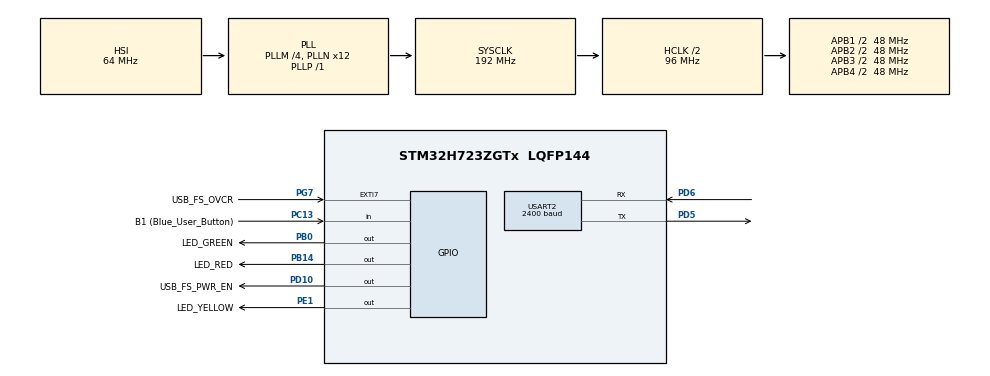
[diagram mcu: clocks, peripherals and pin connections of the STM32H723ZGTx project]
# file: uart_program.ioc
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Dma.Request0=USART2_RX
Dma.USART2_RX.0.Direction=DMA_PERIPH_TO_MEMORY
Dma.USART2_RX.0.EventEnable=DISABLE
Dma.USART2_RX.0.FIFOMode=DMA_FIFOMODE_DISABLE
Dma.USART2_RX.0.Instance=DMA1_Stream0
Dma.USART2_RX.0.MemDataAlignment=DMA_MDATAALIGN_BYTE
Dma.USART2_RX.0.MemInc=DMA_MINC_ENABLE
Dma.USART2_RX.0.Mode=DMA_CIRCULAR
Dma.USART2_RX.0.PeriphDataAlignment=DMA_PDATAALIGN_BYTE
Dma.USART2_RX.0.PeriphInc=DMA_PINC_DISABLE
Dma.USART2_RX.0.Polarity=HAL_DMAMUX_REQ_GEN_RISING
Dma.USART2_RX.0.Priority=DMA_PRIORITY_LOW
Dma.USART2_RX.0.RequestNumber=1
Dma.USART2_RX.0.SignalID=NONE
Dma.USART2_RX.0.SyncEnable=DISABLE
Dma.USART2_RX.0.SyncPolarity=HAL_DMAMUX_SYNC_NO_EVENT
Dma.USART2_RX.0.SyncRequestNumber=1
Dma.USART2_RX.0.SyncSignalID=NONE
Mcu.Family=STM32H7
Mcu.Name=STM32H723ZGTx
Mcu.Package=LQFP144
NVIC.DMA1_Stream0_IRQn=true\:0\:0\:false\:false\:true\:false\:true\:true
NVIC.PriorityGroup=NVIC_PRIORITYGROUP_4
NVIC.TIM4_IRQn=true\:15\:0\:false\:false\:true\:false\:true\:true
NVIC.TimeBase=TIM4_IRQn
NVIC.TimeBaseIP=TIM4
NVIC.USART2_IRQn=true\:0\:0\:false\:false\:true\:true\:true\:true
PA1.GPIO_Label=RMII_REF_CLK
PA1.Signal=ETH_REF_CLK
PA10.GPIO_Label=USB_FS_ID
PA10.Signal=USB_OTG_HS_ID
PA13(JTMS/SWDIO).GPIO_Label=SWDIO
PA13(JTMS/SWDIO).Signal=DEBUG_JTMS-SWDIO
PA14(JTCK/SWCLK).GPIO_Label=SWCLK
PA14(JTCK/SWCLK).Signal=DEBUG_JTCK-SWCLK
PA7.GPIO_Label=RMII_CRS_DV
PA7.Signal=ETH_CRS_DV
PA9.GPIO_Label=USB_FS_VBUS
PA9.Signal=USB_OTG_HS_VBUS
PB0.GPIO_Label=LED_GREEN
PB0.Signal=GPIO_Output
PB13.GPIO_Label=RMII_TXD1
PB13.Signal=ETH_TXD1
PB14.GPIO_Label=LED_RED
PB14.Signal=GPIO_Output
PB3(JTDO/TRACESWO).GPIO_Label=SWO
PB3(JTDO/TRACESWO).Signal=DEBUG_JTDO-SWO
PC1.GPIO_Label=RMII_MDC
PC1.Signal=ETH_MDC
PC13.GPIO_Label=B1 (Blue_User_Button)
PC13.Signal=GPIO_Input
PC14-OSC32_IN.Signal=RCC_OSC32_IN
PC15-OSC32_OUT.Signal=RCC_OSC32_OUT
PC4.GPIO_Label=RMII_RXD0
PC4.Signal=ETH_RXD0
PC5.GPIO_Label=RMII_RXD1
PC5.Signal=ETH_RXD1
PD10.GPIO_Label=USB_FS_PWR_EN
PD10.Signal=GPIO_Output
PD5.Mode=Asynchronous
PD5.Signal=USART2_TX
PD6.Mode=Asynchronous
PD6.Signal=USART2_RX
PD8.GPIO_Label=STLK_VCP_RX
PD8.Signal=USART3_TX
PD9.GPIO_Label=STLK_VCP_TX
PD9.Signal=USART3_RX
PE1.GPIO_Label=LED_YELLOW
PE1.Signal=GPIO_Output
PG11.GPIO_Label=RMII_TX_EN
PG11.Signal=ETH_TX_EN
PG13.GPIO_Label=RMII_TXD0
PG13.Signal=ETH_TXD0
PG7.GPIO_Label=USB_FS_OVCR
PG7.Signal=GPXTI7
PH0-OSC_IN.GPIO_Label=MCO
PH0-OSC_IN.Signal=RCC_OSC_IN
PH1-OSC_OUT.Signal=RCC_OSC_OUT
ProjectManager.HeapSize=0x200
ProjectManager.StackSize=0x400
ProjectManager.TargetToolchain=STM32CubeIDE
RCC.ADCFreq_Value=608000000
RCC.APB1Freq_Value=48000000
RCC.APB2Freq_Value=48000000
RCC.APB3Freq_Value=48000000
RCC.APB4Freq_Value=48000000
RCC.CortexFreq_Value=192000000
RCC.D1PPRE=RCC_APB3_DIV2
RCC.D2PPRE1=RCC_APB1_DIV2
RCC.D2PPRE2=RCC_APB2_DIV2
RCC.D3PPRE=RCC_APB4_DIV2
RCC.DIVM1=4
RCC.DIVM2=1
RCC.DIVN1=12
RCC.DIVN2=19
RCC.DIVP1=1
RCC.DIVQ1=4
RCC.HCLKFreq_Value=96000000
RCC.HPRE=RCC_HCLK_DIV2
RCC.HSE_VALUE=8000000
RCC.PLLFRACN=0
RCC.SYSCLKFreq_VALUE=192000000
RCC.SYSCLKSource=RCC_SYSCLKSOURCE_PLLCLK
RCC.USBCLockSelection=RCC_USBCLKSOURCE_HSI48
RCC.USBFreq_Value=48000000
USART2.BaudRate=2400
USART2.VirtualMode-Asynchronous=VM_ASYNC
VP_MEMORYMAP_VS_MEMORYMAP.Mode=CurAppReg
VP_SYS_VS_tim4.Mode=TIM4
board=NUCLEO-H723ZG

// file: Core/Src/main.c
/* USER CODE BEGIN Header */
/**
 ******************************************************************************
 * @file           : main.c
 * @brief          : Main program body
 ******************************************************************************
 * @attention
 *
 * Copyright (c) 2024 STMicroelectronics.
 * All rights reserved.
 *
 * This software is licensed under terms that can be found in the LICENSE file
 * in the root directory of this software component.
 * If no LICENSE file comes with this software, it is provided AS-IS.
 *
 ******************************************************************************
 */
/* USER CODE END Header */
#include "main.h"

/* USER CODE BEGIN Includes */
#include "string.h"

#include "flash_sector_h7.h"
/* USER CODE END Includes */

/* USER CODE BEGIN PD */
#define MAX_RECEVE_DATA_SIZE 10
#define BUFFER_SIZE			 2048
#define STRING_BUFFER_SIZE   1024

//#define TEST
/* USER CODE END PD */

UART_HandleTypeDef huart2;
DMA_HandleTypeDef hdma_usart2_rx;

/* USER CODE BEGIN PV */
uint64_t flash_begin_address = 0x08060000;

uint8_t received_data[BUFFER_SIZE];
uint32_t buffer[STRING_BUFFER_SIZE];
char tx_data[STRING_BUFFER_SIZE];

uint16_t total_number_of_words = 0;
uint8_t local_count = 0;
volatile uint8_t data_reception_complete = 0;
uint8_t data_copying_complete = 0;
uint32_t receive_buffer_index = 0;
uint32_t main_buffer_index = 0;
uint32_t previous_received_data_size = 0;
uint32_t temp = 0;
uint32_t received_data_length = 0;
volatile uint8_t buf_overflow = 0;

uint32_t flash_tx_data;
uint32_t *flash_rx_data;

/* USER CODE END PV */

void SystemClock_Config(void);
static void MX_GPIO_Init(void);
static void MX_DMA_Init(void);
static void MX_USART2_UART_Init(void);

/* USER CODE BEGIN 0 */

void HAL_UARTEx_RxEventCallback(UART_HandleTypeDef *huart, uint16_t Size)
{
	/* Prevent unused argument(s) compilation warning */
	UNUSED(huart);
	UNUSED(Size);

	/* NOTE : This function should not be modified, when the callback is needed,
            the HAL_UARTEx_RxEventCallback can be implemented in the user file.
	 */
	temp = Size;

	if(Size != BUFFER_SIZE)
		data_reception_complete = 1;
//	else if(Size == BUFFER_SIZE)
//		buf_overflow = 1;
}
/* USER CODE END 0 */

int main(void)
{

	/* MCU Configuration--------------------------------------------------------*/

	/* Reset of all peripherals, Initializes the Flash interface and the Systick. */
	HAL_Init();

	/* Configure the system clock */
	SystemClock_Config();

	/* Initialize all configured peripherals */
	MX_GPIO_Init();
	MX_DMA_Init();
	MX_USART2_UART_Init();
	/* USER CODE BEGIN 2 */
	HAL_Delay(1000);
	HAL_UART_Transmit(&huart2, (uint8_t *)"Start\n", 6, 100);

#ifdef TEST
	// Flash test
//	Flash_Erase_Sector(0x08060000);
	flash_tx_data = (uint32_t)'\n' << 24 | (uint32_t)'B' << 16 | (uint32_t)'U' << 8 | (uint32_t)'F';
	Flash_Write_Data(0x08060000, &flash_tx_data, 1);
//	Flash_Read_Data(0x08060000, flash_rx_data, 1);

//	Flash_Erase_Sector(0x08060000);
	flash_tx_data = (uint32_t)'\n' << 24 | (uint32_t)'F' << 16 | (uint32_t)'C' << 8 | (uint32_t)'B';
	Flash_Write_Data(0x08060000, &flash_tx_data, 1);

	flash_tx_data = 0;
	char *sample_character = "Dumbledore";
	HAL_UART_Transmit(&huart2, (uint8_t *)sample_character, 10, 100);
#endif
	/* USER CODE END 2 */

	/* Infinite loop */
	/* USER CODE BEGIN WHILE */

	// Set array to NULL
	memset(received_data, '\0', BUFFER_SIZE);
	memset(tx_data, '\0', STRING_BUFFER_SIZE);

	// Trigger Receive DMA
	HAL_UARTEx_ReceiveToIdle_DMA(&huart2, received_data, BUFFER_SIZE);
	// Disable half transfer complete IRQ
	__HAL_DMA_DISABLE_IT(&hdma_usart2_rx, DMA_IT_HT);

	while (1)
	{
		/* USER CODE END WHILE */

		/* USER CODE BEGIN 3 */
		while((received_data[receive_buffer_index + previous_received_data_size] != '\0') && ((receive_buffer_index + previous_received_data_size) < BUFFER_SIZE))
		{
			// Save received uint8_t character in uint32_t variable
			flash_tx_data |= (uint32_t)received_data[receive_buffer_index + previous_received_data_size] << (8 * local_count);

			if(local_count == 3)
			{
				local_count = 0;

				// Read data from FLASH
				Flash_Read_Data(0x08060000, flash_rx_data, total_number_of_words);

				*(flash_rx_data + total_number_of_words) = flash_tx_data;
				total_number_of_words++;

				// Write data into FLASH
				Flash_Write_Data(0x08060000, flash_rx_data, total_number_of_words);

				flash_tx_data = 0;
			}
			else
				local_count++;

			// Increment receive_buffer_index
//			receive_buffer_index++;

			receive_buffer_index++;
//			main_buffer_index++;
		}

		if(flash_tx_data != 0)
		{
//			local_count = 0;

			// Read data from FLASH
			Flash_Read_Data(0x08060000, flash_rx_data, total_number_of_words);

			*(flash_rx_data + total_number_of_words) = flash_tx_data;
			total_number_of_words++;

			// Write data into FLASH
			Flash_Write_Data(0x08060000, flash_rx_data, total_number_of_words);

			flash_tx_data = 0;
		}

		if(data_reception_complete)
		{
			data_reception_complete = 0;

			data_copying_complete = 1;
			received_data_length = receive_buffer_index;

			receive_buffer_index = 0;
			main_buffer_index = 0;

			memset(received_data, '\0', BUFFER_SIZE);
//			memset(buffer, '\0', BUFFER_SIZE);

			previous_received_data_size = temp;
			if(previous_received_data_size > BUFFER_SIZE)
				previous_received_data_size = previous_received_data_size - BUFFER_SIZE;
			else if(previous_received_data_size == BUFFER_SIZE)
				previous_received_data_size = 0;

			// Trigger Receive DMA
			HAL_UARTEx_ReceiveToIdle_DMA(&huart2, &received_data[0], BUFFER_SIZE);
			// Disable half transfer complete IRQ
			__HAL_DMA_DISABLE_IT(&hdma_usart2_rx, DMA_IT_HT);
		}

		if(data_copying_complete)
		{
//			uint32_t i = 0;
			int numberofbytes = 0;

			data_copying_complete = 0;

			// Read data from FLASH
			Flash_Read_Data(0x08060000, flash_rx_data, total_number_of_words);

			numberofbytes = Convert_To_Str(flash_rx_data, tx_data);

			HAL_UART_Transmit(&huart2, (uint8_t *)&tx_data[0], numberofbytes, HAL_MAX_DELAY);

			memset(tx_data, '\0', STRING_BUFFER_SIZE);

			total_number_of_words = 0;
		}

		HAL_Delay(1);
	}
	/* USER CODE END 3 */
}

void SystemClock_Config(void)
{
	RCC_OscInitTypeDef RCC_OscInitStruct = {0};
	RCC_ClkInitTypeDef RCC_ClkInitStruct = {0};

	/** Supply configuration update enable
	 */
	HAL_PWREx_ConfigSupply(PWR_LDO_SUPPLY);

	/** Configure the main internal regulator output voltage
	 */
	__HAL_PWR_VOLTAGESCALING_CONFIG(PWR_REGULATOR_VOLTAGE_SCALE2);

	while(!__HAL_PWR_GET_FLAG(PWR_FLAG_VOSRDY)) {}

	/** Initializes the RCC Oscillators according to the specified parameters
	 * in the RCC_OscInitTypeDef structure.
	 */
	RCC_OscInitStruct.OscillatorType = RCC_OSCILLATORTYPE_HSI;
	RCC_OscInitStruct.HSIState = RCC_HSI_DIV1;
	RCC_OscInitStruct.HSICalibrationValue = 64;
	RCC_OscInitStruct.PLL.PLLState = RCC_PLL_ON;
	RCC_OscInitStruct.PLL.PLLSource = RCC_PLLSOURCE_HSI;
	RCC_OscInitStruct.PLL.PLLM = 4;
	RCC_OscInitStruct.PLL.PLLN = 12;
	RCC_OscInitStruct.PLL.PLLP = 1;
	RCC_OscInitStruct.PLL.PLLQ = 4;
	RCC_OscInitStruct.PLL.PLLR = 2;
	RCC_OscInitStruct.PLL.PLLRGE = RCC_PLL1VCIRANGE_3;
	RCC_OscInitStruct.PLL.PLLVCOSEL = RCC_PLL1VCOWIDE;
	RCC_OscInitStruct.PLL.PLLFRACN = 0;
	if (HAL_RCC_OscConfig(&RCC_OscInitStruct) != HAL_OK)
	{
		Error_Handler();
	}

	/** Initializes the CPU, AHB and APB buses clocks
	 */
	RCC_ClkInitStruct.ClockType = RCC_CLOCKTYPE_HCLK|RCC_CLOCKTYPE_SYSCLK
			|RCC_CLOCKTYPE_PCLK1|RCC_CLOCKTYPE_PCLK2
			|RCC_CLOCKTYPE_D3PCLK1|RCC_CLOCKTYPE_D1PCLK1;
	RCC_ClkInitStruct.SYSCLKSource = RCC_SYSCLKSOURCE_PLLCLK;
	RCC_ClkInitStruct.SYSCLKDivider = RCC_SYSCLK_DIV1;
	RCC_ClkInitStruct.AHBCLKDivider = RCC_HCLK_DIV2;
	RCC_ClkInitStruct.APB3CLKDivider = RCC_APB3_DIV2;
	RCC_ClkInitStruct.APB1CLKDivider = RCC_APB1_DIV2;
	RCC_ClkInitStruct.APB2CLKDivider = RCC_APB2_DIV2;
	RCC_ClkInitStruct.APB4CLKDivider = RCC_APB4_DIV2;

	if (HAL_RCC_ClockConfig(&RCC_ClkInitStruct, FLASH_LATENCY_1) != HAL_OK)
	{
		Error_Handler();
	}
}

static void MX_USART2_UART_Init(void)
{

	huart2.Instance = USART2;
	huart2.Init.BaudRate = 2400;
	huart2.Init.WordLength = UART_WORDLENGTH_8B;
	huart2.Init.StopBits = UART_STOPBITS_1;
	huart2.Init.Parity = UART_PARITY_NONE;
	huart2.Init.Mode = UART_MODE_TX_RX;
	huart2.Init.HwFlowCtl = UART_HWCONTROL_NONE;
	huart2.Init.OverSampling = UART_OVERSAMPLING_16;
	huart2.Init.OneBitSampling = UART_ONE_BIT_SAMPLE_DISABLE;
	huart2.Init.ClockPrescaler = UART_PRESCALER_DIV1;
	huart2.AdvancedInit.AdvFeatureInit = UART_ADVFEATURE_NO_INIT;
	if (HAL_UART_Init(&huart2) != HAL_OK)
	{
		Error_Handler();
	}
	if (HAL_UARTEx_SetTxFifoThreshold(&huart2, UART_TXFIFO_THRESHOLD_1_8) != HAL_OK)
	{
		Error_Handler();
	}
	if (HAL_UARTEx_SetRxFifoThreshold(&huart2, UART_RXFIFO_THRESHOLD_1_8) != HAL_OK)
	{
		Error_Handler();
	}
	if (HAL_UARTEx_DisableFifoMode(&huart2) != HAL_OK)
	{
		Error_Handler();
	}

}

static void MX_DMA_Init(void)
{

	/* DMA controller clock enable */
	__HAL_RCC_DMA1_CLK_ENABLE();

	/* DMA interrupt init */
	/* DMA1_Stream0_IRQn interrupt configuration */
	HAL_NVIC_SetPriority(DMA1_Stream0_IRQn, 0, 0);
	HAL_NVIC_EnableIRQ(DMA1_Stream0_IRQn);

}

static void MX_GPIO_Init(void)
{
	GPIO_InitTypeDef GPIO_InitStruct = {0};

	/* GPIO Ports Clock Enable */
	__HAL_RCC_GPIOC_CLK_ENABLE();
	__HAL_RCC_GPIOH_CLK_ENABLE();
	__HAL_RCC_GPIOA_CLK_ENABLE();
	__HAL_RCC_GPIOB_CLK_ENABLE();
	__HAL_RCC_GPIOD_CLK_ENABLE();
	__HAL_RCC_GPIOG_CLK_ENABLE();
	__HAL_RCC_GPIOE_CLK_ENABLE();

	/*Configure GPIO pin Output Level */
	HAL_GPIO_WritePin(GPIOB, LED_GREEN_Pin|LED_RED_Pin, GPIO_PIN_RESET);

	/*Configure GPIO pin Output Level */
	HAL_GPIO_WritePin(USB_FS_PWR_EN_GPIO_Port, USB_FS_PWR_EN_Pin, GPIO_PIN_RESET);

	/*Configure GPIO pin Output Level */
	HAL_GPIO_WritePin(LED_YELLOW_GPIO_Port, LED_YELLOW_Pin, GPIO_PIN_RESET);

	/*Configure GPIO pin : B1_Pin */
	GPIO_InitStruct.Pin = B1_Pin;
	GPIO_InitStruct.Mode = GPIO_MODE_INPUT;
	GPIO_InitStruct.Pull = GPIO_NOPULL;
	HAL_GPIO_Init(B1_GPIO_Port, &GPIO_InitStruct);

	/*Configure GPIO pins : RMII_MDC_Pin RMII_RXD0_Pin RMII_RXD1_Pin */
	GPIO_InitStruct.Pin = RMII_MDC_Pin|RMII_RXD0_Pin|RMII_RXD1_Pin;
	GPIO_InitStruct.Mode = GPIO_MODE_AF_PP;
	GPIO_InitStruct.Pull = GPIO_NOPULL;
	GPIO_InitStruct.Speed = GPIO_SPEED_FREQ_LOW;
	GPIO_InitStruct.Alternate = GPIO_AF11_ETH;
	HAL_GPIO_Init(GPIOC, &GPIO_InitStruct);

	/*Configure GPIO pins : RMII_REF_CLK_Pin RMII_CRS_DV_Pin */
	GPIO_InitStruct.Pin = RMII_REF_CLK_Pin|RMII_CRS_DV_Pin;
	GPIO_InitStruct.Mode = GPIO_MODE_AF_PP;
	GPIO_InitStruct.Pull = GPIO_NOPULL;
	GPIO_InitStruct.Speed = GPIO_SPEED_FREQ_LOW;
	GPIO_InitStruct.Alternate = GPIO_AF11_ETH;
	HAL_GPIO_Init(GPIOA, &GPIO_InitStruct);

	/*Configure GPIO pins : LED_GREEN_Pin LED_RED_Pin */
	GPIO_InitStruct.Pin = LED_GREEN_Pin|LED_RED_Pin;
	GPIO_InitStruct.Mode = GPIO_MODE_OUTPUT_PP;
	GPIO_InitStruct.Pull = GPIO_NOPULL;
	GPIO_InitStruct.Speed = GPIO_SPEED_FREQ_LOW;
	HAL_GPIO_Init(GPIOB, &GPIO_InitStruct);

	/*Configure GPIO pin : RMII_TXD1_Pin */
	GPIO_InitStruct.Pin = RMII_TXD1_Pin;
	GPIO_InitStruct.Mode = GPIO_MODE_AF_PP;
	GPIO_InitStruct.Pull = GPIO_NOPULL;
	GPIO_InitStruct.Speed = GPIO_SPEED_FREQ_LOW;
	GPIO_InitStruct.Alternate = GPIO_AF11_ETH;
	HAL_GPIO_Init(RMII_TXD1_GPIO_Port, &GPIO_InitStruct);

	/*Configure GPIO pins : STLK_VCP_RX_Pin STLK_VCP_TX_Pin */
	GPIO_InitStruct.Pin = STLK_VCP_RX_Pin|STLK_VCP_TX_Pin;
	GPIO_InitStruct.Mode = GPIO_MODE_AF_PP;
	GPIO_InitStruct.Pull = GPIO_NOPULL;
	GPIO_InitStruct.Speed = GPIO_SPEED_FREQ_LOW;
	GPIO_InitStruct.Alternate = GPIO_AF7_USART3;
	HAL_GPIO_Init(GPIOD, &GPIO_InitStruct);

	/*Configure GPIO pin : USB_FS_PWR_EN_Pin */
	GPIO_InitStruct.Pin = USB_FS_PWR_EN_Pin;
	GPIO_InitStruct.Mode = GPIO_MODE_OUTPUT_PP;
	GPIO_InitStruct.Pull = GPIO_NOPULL;
	GPIO_InitStruct.Speed = GPIO_SPEED_FREQ_LOW;
	HAL_GPIO_Init(USB_FS_PWR_EN_GPIO_Port, &GPIO_InitStruct);

	/*Configure GPIO pin : USB_FS_OVCR_Pin */
	GPIO_InitStruct.Pin = USB_FS_OVCR_Pin;
	GPIO_InitStruct.Mode = GPIO_MODE_IT_RISING;
	GPIO_InitStruct.Pull = GPIO_NOPULL;
	HAL_GPIO_Init(USB_FS_OVCR_GPIO_Port, &GPIO_InitStruct);

	/*Configure GPIO pin : USB_FS_ID_Pin */
	GPIO_InitStruct.Pin = USB_FS_ID_Pin;
	GPIO_InitStruct.Mode = GPIO_MODE_AF_PP;
	GPIO_InitStruct.Pull = GPIO_NOPULL;
	GPIO_InitStruct.Speed = GPIO_SPEED_FREQ_LOW;
	GPIO_InitStruct.Alternate = GPIO_AF10_OTG1_HS;
	HAL_GPIO_Init(USB_FS_ID_GPIO_Port, &GPIO_InitStruct);

	/*Configure GPIO pins : RMII_TX_EN_Pin RMII_TXD0_Pin */
	GPIO_InitStruct.Pin = RMII_TX_EN_Pin|RMII_TXD0_Pin;
	GPIO_InitStruct.Mode = GPIO_MODE_AF_PP;
	GPIO_InitStruct.Pull = GPIO_NOPULL;
	GPIO_InitStruct.Speed = GPIO_SPEED_FREQ_LOW;
	GPIO_InitStruct.Alternate = GPIO_AF11_ETH;
	HAL_GPIO_Init(GPIOG, &GPIO_InitStruct);

	/*Configure GPIO pin : LED_YELLOW_Pin */
	GPIO_InitStruct.Pin = LED_YELLOW_Pin;
	GPIO_InitStruct.Mode = GPIO_MODE_OUTPUT_PP;
	GPIO_InitStruct.Pull = GPIO_NOPULL;
	GPIO_InitStruct.Speed = GPIO_SPEED_FREQ_LOW;
	HAL_GPIO_Init(LED_YELLOW_GPIO_Port, &GPIO_InitStruct);

}

void HAL_TIM_PeriodElapsedCallback(TIM_HandleTypeDef *htim)
{
	if (htim->Instance == TIM4) {
		HAL_IncTick();
	}
}

void Error_Handler(void)
{
	__disable_irq();
	while (1)
	{
	}
}
